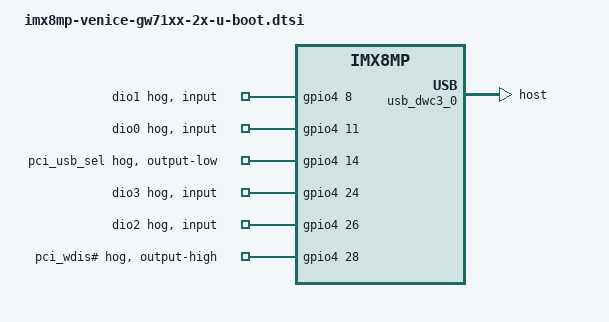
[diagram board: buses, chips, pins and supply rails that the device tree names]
// SPDX-License-Identifier: GPL-2.0+
/*
 * Copyright 2023 Gateworks Corporation
 */
#include "imx8mp-venice-gw702x-u-boot.dtsi"

&gpio4 {
	dio_1 {
		gpio-hog;
		input;
		gpios = <8 GPIO_ACTIVE_HIGH>;
		line-name = "dio1";
	};

	dio_0 {
		gpio-hog;
		input;
		gpios = <11 GPIO_ACTIVE_HIGH>;
		line-name = "dio0";
	};

	pci_usb_sel {
		gpio-hog;
		output-low;
		gpios = <14 GPIO_ACTIVE_HIGH>;
		line-name = "pci_usb_sel";
	};

	dio_3 {
		gpio-hog;
		input;
		gpios = <24 GPIO_ACTIVE_HIGH>;
		line-name = "dio3";
	};

	dio_2 {
		gpio-hog;
		input;
		gpios = <26 GPIO_ACTIVE_HIGH>;
		line-name = "dio2";
	};

	pci_wdis {
		gpio-hog;
		output-high;
		gpios = <28 GPIO_ACTIVE_HIGH>;
		line-name = "pci_wdis#";
	};
};

/* gpio-usb-con not supported yet in U-Boot so make this a host for now */
&usb_dwc3_0 {
	dr_mode = "host";
};
